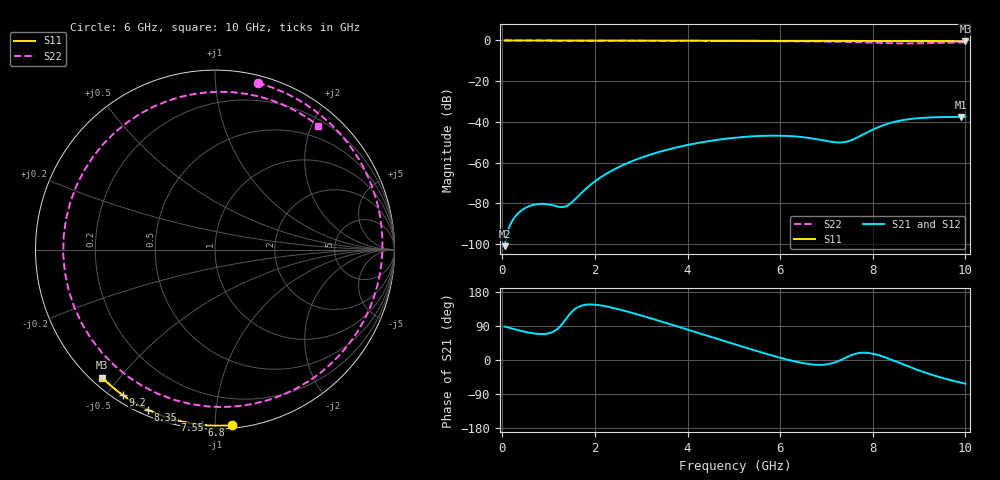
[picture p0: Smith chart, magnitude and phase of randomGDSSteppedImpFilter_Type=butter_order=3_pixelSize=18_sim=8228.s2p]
! freq	dB(S11)	phase(S11)	dB(S12)	phase(S12)
!  dB(S21)	phase(S21)	dB(S22)	phase(S22)
!S-par simulation data
#  GHz  S  DB  R 50
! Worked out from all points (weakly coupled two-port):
!   200 points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, 50 MHz to 10 GHz, reference 50 ohm
!   highest |S21| = -37.58 dB at 9.9 GHz (marker M1); lowest = -101.1 dB at 50 MHz (marker M2)
!   lowest |S11| = -0.4 dB at 10 GHz (marker M3), VSWR 39.19, Z = 1.54 - j22.6 ohm
!   |S11| at or under -10 dB: nowhere
!   |S22| runs from -1.5 to 0.0 dB; largest |S21 - S12| = 0
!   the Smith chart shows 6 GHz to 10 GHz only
!   S11 on the Smith chart (normalised r, x): 6 GHz: 0.02, -1.10; 6.8 GHz: 0.02, -0.93; 7.55 GHz: 0.02, -0.79; 8.35 GHz: 0.02, -0.67; 9.2 GHz: 0.03, -0.55; 10 GHz: 0.03, -0.45
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0.05  -0.00 -0.8  -101.12 88.3  -101.12 88.3  -0.00 -2.7
0.65  -0.01 -9.8  -80.93 70.6  -80.93 70.6  -0.05 -34.9
1.45  -0.03 -21.8  -80.52 120.2  -80.52 120.2  -0.09 -75.7
1.75  -0.03 -26.2  -74.06 144.7  -74.06 144.7  -0.11 -90.2
2.45  -0.05 -36.4  -62.97 135.8  -62.97 135.8  -0.14 -122.2
3.4  -0.07 -49.9  -54.72 102.9  -54.72 102.9  -0.18 -163.1
4.2  -0.09 -60.9  -50.49 72.7  -50.49 72.7  -0.22 162.8
5.05  -0.11 -72.2  -47.77 40.3  -47.77 40.3  -0.28 124.5
5.55  -0.13 -78.7  -46.97 21.7  -46.97 21.7  -0.32 99.8
6  -0.15 -84.4  -46.83 6.0  -46.83 6.0  -0.37 75.6
6.7  -0.18 -93.0  -48.17 -11.8  -48.17 -11.8  -0.48 32.5
6.8  -0.19 -94.2  -48.55 -12.7  -48.55 -12.7  -0.50 25.6
7.2  -0.21 -99.1  -50.07 -5.6  -50.07 -5.6  -0.62 -4.5
7.55  -0.23 -103.3  -48.88 13.5  -48.88 13.5  -0.79 -34.9
8  -0.26 -108.6  -43.84 16.7  -43.84 16.7  -1.09 -81.5
8.35  -0.29 -112.6  -40.76 3.3  -40.76 3.3  -1.33 -124.5
8.75  -0.32 -117.2  -38.79 -16.1  -38.79 -16.1  -1.45 -178.1
8.95  -0.34 -119.5  -38.27 -25.4  -38.27 -25.4  -1.41 155.5
9.2  -0.36 -122.4  -37.88 -36.0  -37.88 -36.0  -1.30 124.8
9.5  -0.39 -125.8  -37.66 -47.2  -37.66 -47.2  -1.13 92.6
9.9  -0.43 -130.3  -37.58 -59.7  -37.58 -59.7  -0.96 57.7
10  -0.44 -131.4  -37.58 -62.5  -37.58 -62.5  -0.94 50.1
